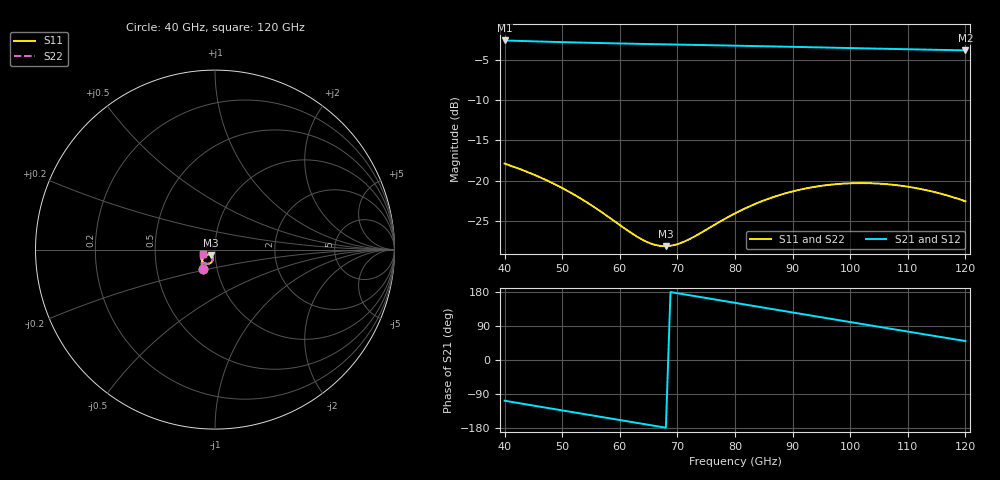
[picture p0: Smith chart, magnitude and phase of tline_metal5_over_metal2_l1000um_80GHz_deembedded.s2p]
! Created with skrf 2.2.0 (http://scikit-rf.org).
# GHz S DB R 50.0
! Port[1] = P1
! Port[2] = P2
!freq dBS11 angS11 dBS21 angS21 dBS12 angS12 dBS22 angS22
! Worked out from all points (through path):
!   101 points, 40 GHz to 120 GHz, reference 50 ohm
!   highest |S21| = -2.59 dB at 40 GHz (marker M1); lowest = -3.8 dB at 120 GHz (marker M2)
!   group delay of S21, straight-line fit = 7.04 ps
!   lowest |S11| = -28.1 dB at 68 GHz (marker M3), VSWR 1.08, Z = 47.8 - j3.13 ohm
!   |S11| at or under -10 dB: start of sweep to end of sweep
!   |S22| runs from -28.1 to -17.9 dB; largest |S21 - S12| = 5.6e-16
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40  -17.89 -120.8  -2.59 -107.5  -2.59 -107.5  -17.86 -120.9
46.4  -19.67 -134.9  -2.72 -123.8  -2.72 -123.8  -19.61 -135.0
50.4  -21.08 -141.9  -2.80 -134.0  -2.80 -134.0  -21.01 -142.0
53.6  -22.40 -145.9  -2.86 -142.2  -2.86 -142.2  -22.31 -146.0
58.4  -24.70 -147.6  -2.94 -154.3  -2.94 -154.3  -24.59 -147.8
63.2  -27.05 -140.5  -3.01 -166.5  -3.01 -166.5  -26.92 -141.2
65.6  -27.87 -132.9  -3.04 -172.6  -3.04 -172.6  -27.75 -133.7
67.2  -28.12 -126.7  -3.06 -176.6  -3.06 -176.6  -28.02 -127.7
68  -28.14 -123.5  -3.07 -178.7  -3.07 -178.7  -28.05 -124.6
69.6  -27.98 -117.4  -3.09 177.3  -3.09 177.3  -27.91 -118.5
72  -27.30 -109.8  -3.13 171.2  -3.13 171.2  -27.28 -111.0
76  -25.68 -103.2  -3.18 161.0  -3.18 161.0  -25.70 -104.2
80  -24.07 -102.6  -3.24 150.8  -3.24 150.8  -24.11 -103.4
83.2  -22.99 -104.8  -3.28 142.7  -3.28 142.7  -23.02 -105.5
87.2  -21.91 -109.5  -3.34 132.5  -3.34 132.5  -21.95 -110.0
93.6  -20.80 -119.2  -3.43 116.3  -3.43 116.3  -20.83 -119.6
96.8  -20.49 -124.6  -3.48 108.2  -3.48 108.2  -20.52 -124.9
100  -20.33 -130.0  -3.53 100.2  -3.53 100.2  -20.36 -130.4
103.2  -20.32 -135.5  -3.58 92.1  -3.58 92.1  -20.34 -135.8
107.2  -20.50 -142.1  -3.64 82.1  -3.64 82.1  -20.52 -142.3
113.6  -21.25 -151.6  -3.73 66.0  -3.73 66.0  -21.26 -151.8
120  -22.57 -158.7  -3.82 50.0  -3.82 50.0  -22.58 -158.8
